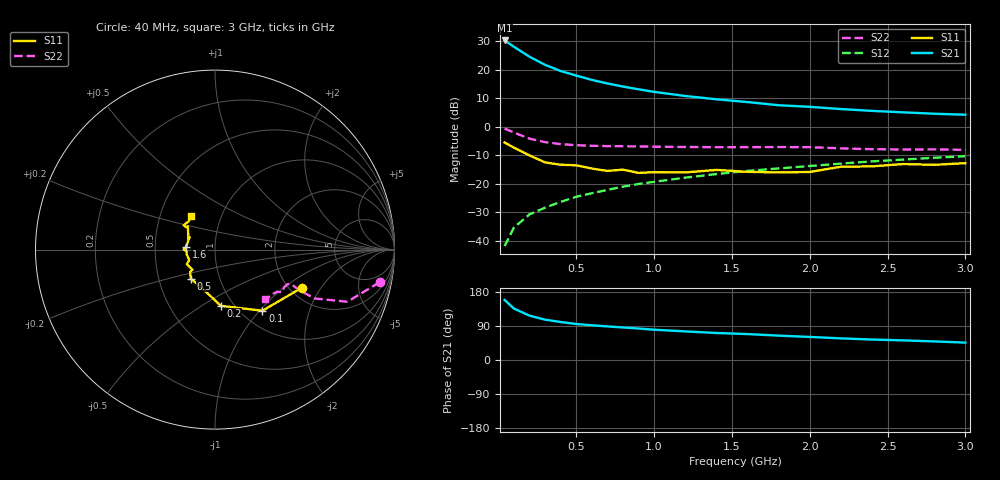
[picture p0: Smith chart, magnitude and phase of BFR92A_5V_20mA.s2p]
! Filename:  BFR92AE.S2P  Version:  2.0
! Philips part #: BFR92A  Date: May 1990
! Bias condition: Vce=5V, Ic=20mA
#  MHz  S  MA  R  50
! Freq  S11  S21  S12  S22  !GUM [dB]
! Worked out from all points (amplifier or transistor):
!   21 points, 40 MHz to 3 GHz, reference 50 ohm
!   highest |S21| = 30.4 dB at 40 MHz (marker M1)
!   |S21| within 3 dB of that: start of sweep to 122.1 MHz
!   unconditionally stable (mu >= 1): 654 MHz to 777.7 MHz; 816.5 MHz to 2.507 GHz
!   at 300 MHz: K = 0.87, MSG = 25.1 dB, |S12| = -28.4 dB
!   at 1 GHz: K = 1.03, MAG = 14.8 dB, |S12| = -19.3 dB
!   at 3 GHz: K = 0.98, MSG = 7.3 dB, |S12| = -10.3 dB
!   S11 on the Smith chart (normalised r, x): 40 MHz: 2.33, -1.37; 100 MHz: 1.24, -1.04; 200 MHz: 0.87, -0.61; 500 MHz: 0.73, -0.25; 1.6 GHz: 0.72, +0.02; 3 GHz: 0.71, +0.28
40  0.53 -23.5  32.95 158.4  0.008 79.3  0.935 -11.2
100  0.431 -52.2  25.49 135.8  0.017 72.0  0.793 -21.5
200  0.315 -84.1  17.06 117.0  0.029 69.1  0.619 -26.1
300  0.237 -103.4  12.28 106.5  0.038 71.7  0.538 -25.8
400  0.216 -116.9  9.567 100.3  0.048 73.2  0.497 -25.2
500  0.211 -129.8  7.971 95.0  0.059 74.5  0.476 -24.6
600  0.185 -138.4  6.68 91.7  0.068 74.5  0.465 -24.6
700  0.168 -138.1  5.788 88.7  0.078 76.0  0.458 -24.7
800  0.177 -152.4  5.103 85.8  0.089 75.3  0.456 -24.9
900  0.155 -157.8  4.57 83.1  0.099 76.5  0.453 -25.2
1000  0.16 -170.5  4.115 79.9  0.108 76.8  0.448 -25.4
1200  0.158 -176.4  3.488 75.5  0.128 76.0  0.443 -26.7
1400  0.175 179.7  3.048 71.3  0.148 75.0  0.438 -28.6
1600  0.162 174.3  2.725 68.4  0.168 75.1  0.44 -30.1
1800  0.158 153.5  2.397 64.3  0.186 74.3  0.441 -31.8
2000  0.161 157.3  2.248 60.9  0.205 73.2  0.439 -32.9
2200  0.199 139.4  2.054 57.1  0.226 72.8  0.419 -34.0
2400  0.202 142.0  1.907 54.0  0.247 71.2  0.405 -37.7
2600  0.222 142.3  1.798 51.8  0.266 70.2  0.4 -41.4
2800  0.215 132.7  1.699 49.0  0.286 69.6  0.402 -43.9
3000  0.23 126.3  1.632 45.9  0.305 68.1  0.394 -44.8
